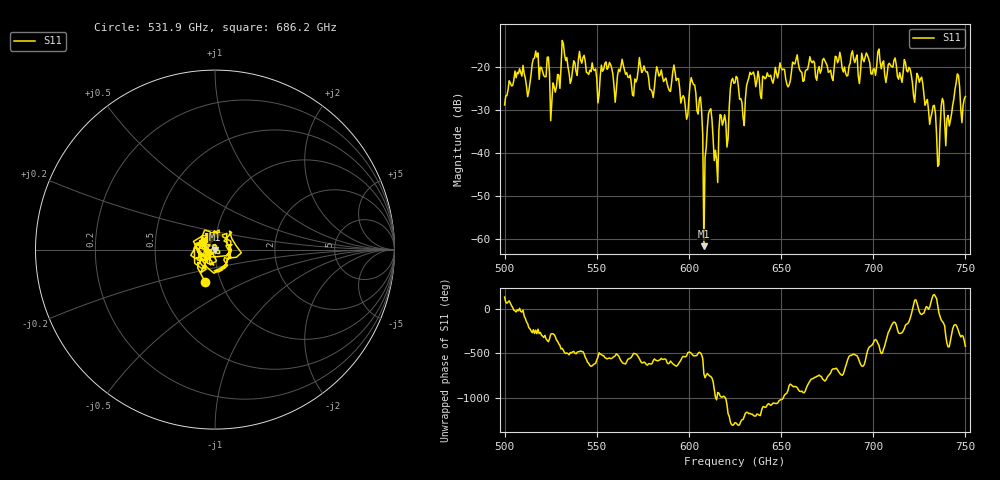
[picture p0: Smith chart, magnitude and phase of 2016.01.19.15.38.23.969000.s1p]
!Created with skrf (http://scikit-rf.org).
# GHz S RI R 50.0
!freq ReS11 ImS11
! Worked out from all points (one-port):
!   401 points, 500 GHz to 750 GHz, reference 50 ohm
!   lowest |S11| = -61.7 dB at 608.1 GHz (marker M1), VSWR 1.00, Z = 50.1 - j0.018 ohm
!   |S11| at or under -10 dB: start of sweep to end of sweep
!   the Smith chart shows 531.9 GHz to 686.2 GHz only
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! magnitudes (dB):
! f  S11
! 500 GHz  -28.8
! 506.9 GHz  -21.2
! 513.1 GHz  -25.7
! 516.9 GHz  -16.3
! 526.2 GHz  -23.7
! 531.2 GHz  -13.8
! 550.6 GHz  -28.4
! 562.5 GHz  -21.1
! 574.4 GHz  -21.3
! 580 GHz  -25.7
! 593.8 GHz  -22.7
! 598.8 GHz  -32.2
! 602.5 GHz  -24.1
! 606.2 GHz  -27.0
! 608.1 GHz  -61.7
! 609.4 GHz  -38.8
! 611.2 GHz  -30.0
! 615 GHz  -41.6
! 625 GHz  -23.7
! 629.4 GHz  -31.8
! 633.8 GHz  -21.8
! 656.2 GHz  -18.9
! 687.5 GHz  -19.1
! 718.8 GHz  -21.2
! 725.6 GHz  -22.8
! 735 GHz  -43.1
! 745.6 GHz  -21.6
! 750 GHz  -26.9
